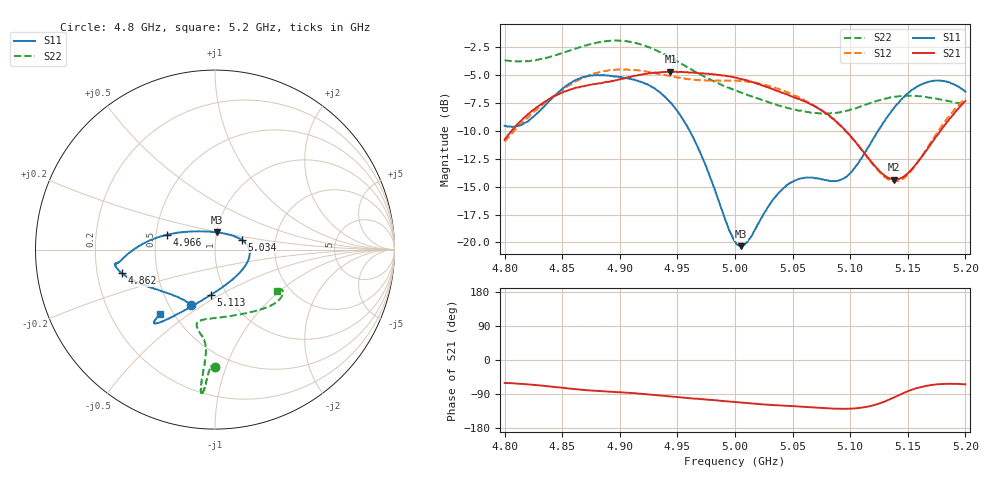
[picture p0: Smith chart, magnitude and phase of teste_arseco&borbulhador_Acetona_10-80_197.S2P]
! Network Analyzer HP8722D
! Hewlett-Packard
! Data name: Linha & Wilkinson
! Saver's name: Rodrigo Anjos
! Comments: Teste da utilização de aquisição
! continua pelo VNA HP8722D
! Time and date: 17/4/2025 16:00
!  Frequency  S11  S21  S12  S22
# HZ  S  MA R 50
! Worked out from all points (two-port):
!   401 points, 4.8 GHz to 5.2 GHz, reference 50 ohm
!   highest |S21| = -4.67 dB at 4.944 GHz (marker M1); lowest = -14.4 dB at 5.138 GHz (marker M2)
!   |S21| within 3 dB of the highest: 4.831 GHz to 5.067 GHz (236.5 MHz wide, 4.78 % of centre); 5.196635 GHz to end of sweep
!   lowest |S11| = -20.3 dB at 5.005 GHz (marker M3), VSWR 1.21, Z = 50.1 + j9.67 ohm
!   |S11| at or under -10 dB: 4.961 GHz to 5.124 GHz (163.5 MHz wide, 3.24 % of centre)
!   |S22| runs from -8.5 to -1.9 dB; largest |S21 - S12| = 0.88
!   S11 on the Smith chart (normalised r, x): 4.8 GHz: 0.65, -0.45; 4.862 GHz: 0.31, -0.11; 4.966 GHz: 0.57, +0.10; 5.034 GHz: 1.34, +0.15; 5.113 GHz: 0.84, -0.45; 5.2 GHz: 0.42, -0.39
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4.8e9  0.3334 -113.2  0.2888 -60.7  0.2831 -175.0  0.6557 -90.0
4.819e9  0.3465 -133.3  0.3702 -64.0  0.3589 -173.6  0.6511 -91.6
4.862e9  0.5356 -165.8  0.4952 -77.2  0.5279 -176.9  0.7415 -93.9
4.867e9  0.5485 -167.8  0.5009 -78.5  0.5448 -177.7  0.7554 -94.1
4.898e9  0.554 -172.2  0.536 -84.7  0.5954 175.7  0.804 -95.3
4.934e9  0.4744 -178.1  0.5776 -93.6  0.571 171.9  0.7163 -95.8
4.944e9  0.4243 177.4  0.584 -96.3  0.5569 171.9  0.6757 -95.4
4.966e9  0.2793 162.7  0.5754 -101.8  0.5356 173.8  0.5803 -94.9
5e9  0.1012 101.6  0.5487 -111.1  0.5316 176.1  0.4808 -99.0
5.005e9  0.09618 83.7  0.5402 -112.5  0.5291 176.2  0.4707 -100.4
5.013e9  0.1042 58.2  0.527 -114.6  0.5229 175.9  0.4543 -102.0
5.034e9  0.1579 20.6  0.4836 -119.2  0.4954 174.9  0.4164 -103.5
5.049e9  0.1858 5.2  0.452 -121.6  0.4636 174.3  0.3967 -99.9
5.067e9  0.1953 -13.9  0.4142 -125.0  0.4159 173.6  0.3813 -90.6
5.093e9  0.1921 -58.1  0.3288 -128.8  0.3271 174.2  0.3855 -70.5
5.113e9  0.2535 -95.3  0.2487 -124.4  0.2484 -179.9  0.414 -55.0
5.134e9  0.376 -116.4  0.1937 -104.2  0.1905 -157.1  0.446 -43.0
5.138e9  0.4003 -118.7  0.1909 -98.7  0.1882 -150.7  0.449 -41.2
5.15e9  0.466 -124.1  0.2039 -82.5  0.2013 -132.1  0.4546 -36.7
5.17e9  0.5281 -128.9  0.276 -66.2  0.2813 -112.3  0.4455 -32.0
5.184e9  0.5251 -130.1  0.3466 -63.0  0.3589 -107.2  0.4321 -31.0
5.2e9  0.4741 -130.5  0.4305 -64.3  0.4429 -106.4  0.4148 -33.3
